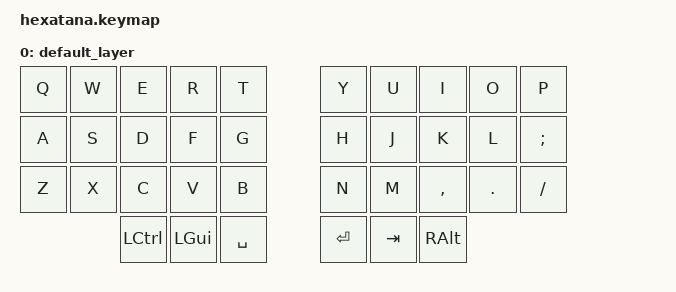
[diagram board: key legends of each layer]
#include <behaviors.dtsi>
#include <dt-bindings/zmk/keys.h>

/ {
    keymap {
        compatible = "zmk,keymap";

        default_layer {
// -------------------------------------------------------------------------------------------------------------------------------
// |    Q    |    W    |    E    |    R    |    T    |                         |    Y    |    U    |    I    |    O    |    P    |
// |    A    |    S    |    D    |    F    |    G    |                         |    H    |    J    |    K    |    L    |    ;    |
// |    Z    |    X    |    C    |    V    |    B    |                         |    N    |    M    |    ,    |    .    |    /    |
//                     |   GUI   |   DEL   | RETURN  |                         |   TAB   |   BSPC  |  R ALT  |
            bindings = <
     &kp Q     &kp W     &kp E     &kp R     &kp T                               &kp Y     &kp U     &kp I     &kp O     &kp P
     &kp A     &kp S     &kp D     &kp F     &kp G                               &kp H     &kp J     &kp K     &kp L     &kp SEMI
     &kp Z     &kp X     &kp C     &kp V     &kp B                               &kp N     &kp M     &kp COMMA &kp DOT   &kp FSLH
                         &kp LCTRL &kp LGUI  &kp SPACE                           &kp RET   &kp TAB   &kp RALT
            >;
        };
    };
};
